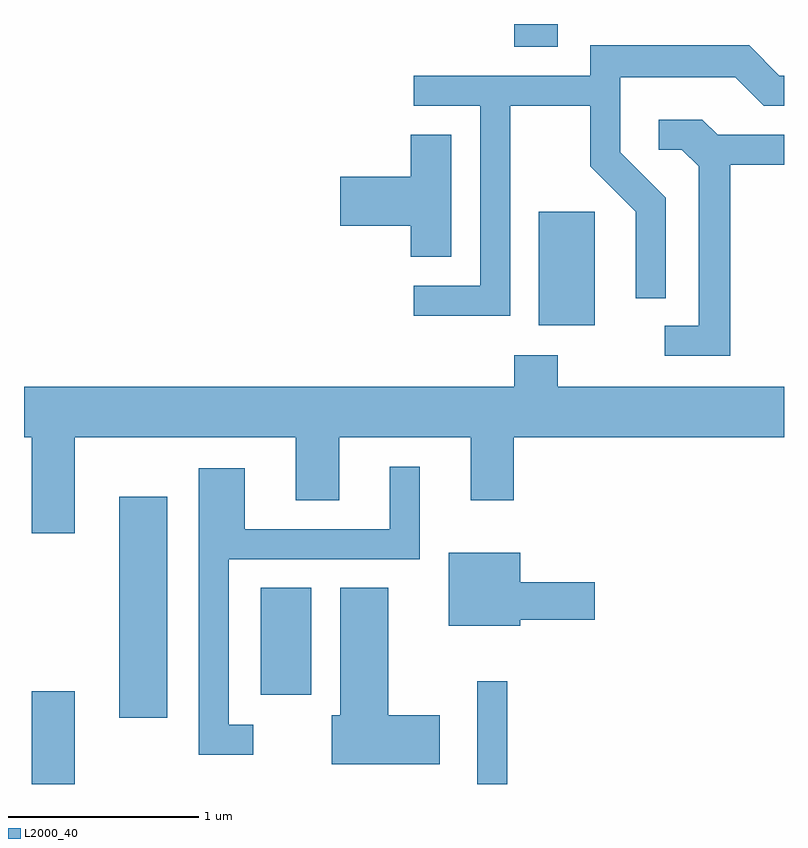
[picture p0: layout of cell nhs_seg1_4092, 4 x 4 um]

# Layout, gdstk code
import gdstk
lib = gdstk.Library(unit=1e-6, precision=1e-09)
def R(c, l, rs):  # rectangles x0, y0, x1, y1
    for r in rs: c.add(gdstk.rectangle(r[:2], r[2:], *l))
def P(c, l, *ps):  # polygons
    for p in ps: c.add(gdstk.Polygon(p, *l))
L2000_40 = (2000, 40)

nhs_seg1_4092 = lib.new_cell('nhs_seg1_4092')
R(nhs_seg1_4092, L2000_40, [(307.651,937.712,307.879,938.199), (309.996,937.712,310.154,938.253), (308.111,938.061,308.364,939.224), (308.856,938.181,309.124,938.744), (310.321,940.126,310.614,940.724), (310.191,941.591,310.419,941.712)])
P(nhs_seg1_4092, L2000_40, [(310.169,941.281),(310.591,941.281),(310.591,940.964),(310.831,940.724),(310.831,940.268),(310.989,940.268),(310.989,940.797),(310.749,941.037),(310.749,941.431),(311.354,941.431),(311.504,941.281),(311.611,941.281),(311.611,941.439),(311.587,941.439),(311.427,941.599),(310.591,941.599),(310.591,941.439),(309.663,941.439),(309.663,941.281),(310.011,941.281),(310.011,940.334),(309.663,940.334),(309.663,940.176),(310.169,940.176)],
  [(311.329,940.971),(311.611,940.971),(311.611,941.129),(311.262,941.129),(311.182,941.209),(310.953,941.209),(310.953,941.051),(311.074,941.051),(311.161,940.964),(311.161,940.124),(310.983,940.124),(310.983,939.966),(311.329,939.966)],
  [(309.859,941.129),(309.646,941.129),(309.646,940.909),(309.276,940.909),(309.276,940.651),(309.646,940.651),(309.646,940.486),(309.859,940.486)],
  [(307.879,939.536),(309.041,939.536),(309.041,939.206),(309.269,939.206),(309.269,939.536),(309.961,939.536),(309.961,939.206),(310.189,939.206),(310.189,939.536),(311.611,939.536),(311.611,939.804),(310.419,939.804),(310.419,939.969),(310.191,939.969),(310.191,939.804),(307.611,939.804),(307.611,939.536),(307.651,939.536),(307.651,939.031),(307.879,939.031)],
  [(308.818,938.024),(308.689,938.024),(308.689,938.896),(309.694,938.896),(309.694,939.383),(309.536,939.383),(309.536,939.054),(308.774,939.054),(308.774,939.374),(308.531,939.374),(308.531,937.866),(308.818,937.866)],
  [(310.224,938.576),(310.614,938.576),(310.614,938.774),(310.224,938.774),(310.224,938.929),(309.846,938.929),(309.846,938.546),(310.224,938.546)],
  [(309.799,938.074),(309.529,938.074),(309.529,938.744),(309.276,938.744),(309.276,938.074),(309.231,938.074),(309.231,937.816),(309.799,937.816)])

lib.write_gds('nhs_seg1_4092.gds')
